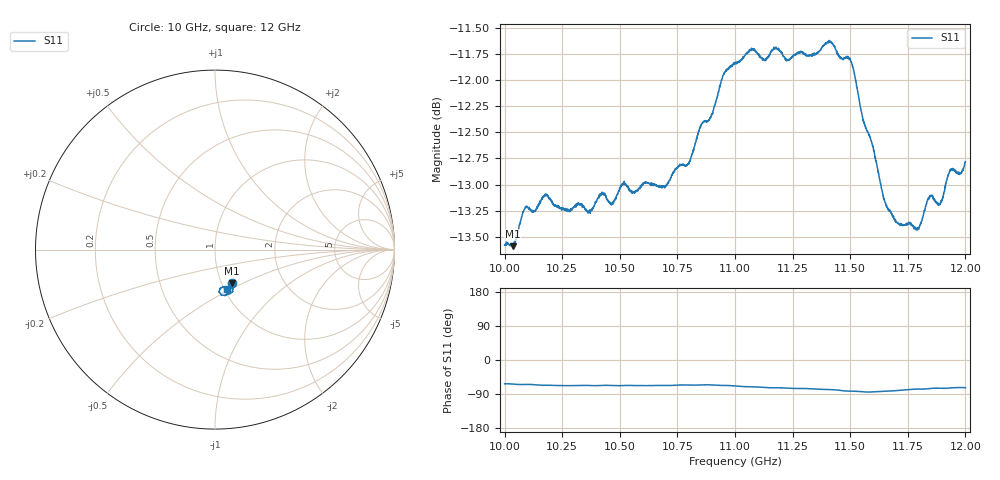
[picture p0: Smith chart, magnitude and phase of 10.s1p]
[Version] 2.0
! Rohde & Schwarz Vector Network Analyzer
! Rohde-Schwarz,ZNL20-2Port,1323001220200009,1.71.1.10-23.02.1.238
! Port Assignments:
! Nominal Port -> Actual Test Port
!  1 -> 1
! Created: GMT 2024-09-04 14:20:36
# Hz S DB R 50
[Number of Ports] 1
! freq[Hz]  S11[mag dB]  S11[ang]
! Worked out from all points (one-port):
!   2001 points, 10 GHz to 12 GHz, reference 50 ohm
!   lowest |S11| = -13.6 dB at 10.04 GHz (marker M1), VSWR 1.53, Z = 55.8 - j21.8 ohm
!   |S11| at or under -10 dB: start of sweep to end of sweep
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[Number of Frequencies] 28
[Network Data]
1e10  -13.58 -62.9
1.0036e10  -13.59 -63.4
1.0092e10  -13.21 -64.4
1.0177e10  -13.11 -66.7
1.025e10  -13.22 -67.5
1.0371e10  -13.26 -67.4
1.0468e10  -13.19 -67.5
1.05e10  -13.03 -67.8
1.0693e10  -13.02 -67.3
1.075e10  -12.84 -66.4
1.0801e10  -12.79 -66.1
1.0872e10  -12.40 -65.2
1.0898e10  -12.33 -65.9
1.0954e10  -11.93 -67.1
1.1e10  -11.83 -68.4
1.1074e10  -11.70 -70.9
1.125e10  -11.77 -75.0
1.141e10  -11.63 -78.0
1.15e10  -11.80 -82.3
1.1576e10  -12.49 -84.5
1.1652e10  -13.17 -82.6
1.1704e10  -13.36 -80.6
1.175e10  -13.38 -78.3
1.1795e10  -13.41 -76.9
1.1843e10  -13.12 -75.5
1.189e10  -13.18 -74.6
1.1933e10  -12.87 -73.8
1.2e10  -12.78 -72.9
[End]
